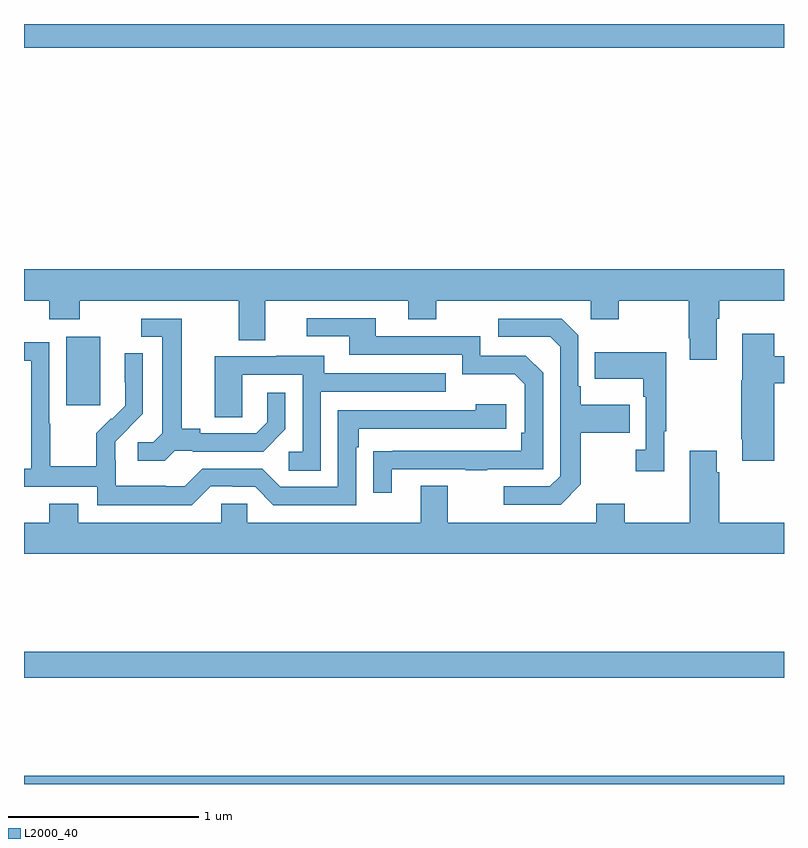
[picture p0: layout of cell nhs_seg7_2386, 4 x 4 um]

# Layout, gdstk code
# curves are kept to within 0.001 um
import gdstk
lib = gdstk.Library(unit=1e-6, precision=1e-09)
def R(c, l, rs):  # rectangles x0, y0, x1, y1
    for r in rs: c.add(gdstk.rectangle(r[:2], r[2:], *l))
def P(c, l, *ps):  # polygons
    for p in ps: c.add(gdstk.Polygon(p, *l))
L2000_40 = (2000, 40)

nhs_seg7_2386 = lib.new_cell('nhs_seg7_2386')
R(nhs_seg7_2386, L2000_40, [(265,1070,269,1070.044), (265,1070.56,269,1070.696), (265.223,1071.993,265.402,1072.354), (265,1073.876,269,1074)])
P(nhs_seg7_2386, L2000_40, [(268.645,1072.448),(268.658,1072.448),(268.658,1072.544),(269,1072.544),(269,1072.708),(265,1072.708),(265,1072.544),(265.133,1072.544),(265.133,1072.445),(265.293,1072.445),(265.293,1072.544),(266.129,1072.544),(266.129,1072.336),(266.269,1072.336),(266.269,1072.544),(267.023,1072.544),(267.023,1072.445),(267.171,1072.445),(267.171,1072.544),(267.984,1072.544),(267.984,1072.445),(268.131,1072.445),(268.131,1072.544),(268.498,1072.544),(268.498,1072.345),(268.505,1072.345),(268.505,1072.233),(268.645,1072.233)],
  [(266.935,1071.657),(267.325,1071.657),(267.325,1071.652),(267.437,1071.652),(267.437,1071.657),(267.732,1071.657),(267.732,1072.164),(267.642,1072.254),(267.402,1072.254),(267.402,1072.356),(266.851,1072.356),(266.851,1072.452),(266.487,1072.452),(266.487,1072.356),(266.711,1072.356),(266.711,1072.26),(267.306,1072.26),(267.306,1072.157),(267.583,1072.157),(267.636,1072.104),(267.636,1071.85),(267.616,1071.85),(267.616,1071.753),(266.839,1071.752),(266.839,1071.534),(266.935,1071.534)],
  [(265.794,1071.753),(265.888,1071.753),(265.888,1071.75),(266.26,1071.75),(266.376,1071.866),(266.376,1072.06),(266.279,1072.06),(266.279,1071.903),(266.222,1071.846),(265.927,1071.846),(265.927,1071.869),(265.831,1071.869),(265.831,1072.449),(265.617,1072.449),(265.617,1072.353),(265.727,1072.353),(265.727,1071.845),(265.68,1071.798),(265.599,1071.798),(265.599,1071.701),(265.742,1071.701)],
  [(267.931,1071.577),(267.931,1071.85),(268.187,1071.85),(268.187,1071.997),(267.931,1071.997),(267.931,1072.093),(267.918,1072.093),(267.918,1072.362),(267.831,1072.449),(267.495,1072.449),(267.495,1072.353),(267.771,1072.353),(267.822,1072.302),(267.822,1071.621),(267.768,1071.567),(267.525,1071.567),(267.525,1071.471),(267.825,1071.471)],
  [(268.949,1072.109),(269,1072.109),(269,1072.251),(268.949,1072.251),(268.949,1072.369),(268.781,1072.369),(268.781,1072.125),(268.774,1072.125),(268.774,1071.814),(268.781,1071.814),(268.781,1071.702),(268.949,1071.702)],
  [(265.983,1071.567),(266.099,1071.567),(266.099,1071.564),(266.217,1071.564),(266.313,1071.468),(266.748,1071.468),(266.748,1071.773),(266.761,1071.773),(266.761,1071.87),(267.538,1071.87),(267.538,1072),(267.377,1072),(267.377,1071.966),(266.652,1071.966),(266.652,1071.564),(266.349,1071.564),(266.253,1071.66),(265.938,1071.66),(265.845,1071.567),(265.745,1071.567),(265.745,1071.571),(265.482,1071.571),(265.482,1071.705),(265.48,1071.705),(265.48,1071.802),(265.626,1071.95),(265.626,1072.268),(265.53,1072.268),(265.53,1072.114),(265.532,1072.114),(265.532,1071.992),(265.461,1071.921),(265.458,1071.924),(265.381,1071.847),(265.381,1071.673),(265.137,1071.673),(265.137,1071.896),(265.134,1071.896),(265.134,1072.326),(265,1072.326),(265,1072.227),(265.038,1072.227),(265.038,1071.66),(265,1071.66),(265,1071.564),(265.386,1071.564),(265.386,1071.467),(265.883,1071.467)],
  [(268.369,1071.857),(268.381,1071.857),(268.381,1072.273),(268.003,1072.273),(268.003,1072.133),(268.26,1072.133),(268.26,1072.037),(268.272,1072.037),(268.272,1071.758),(268.221,1071.758),(268.221,1071.645),(268.369,1071.645)],
  [(266.562,1072.065),(267.221,1072.065),(267.221,1072.161),(266.581,1072.161),(266.581,1072.255),(266.327,1072.255),(266.327,1072.251),(266.003,1072.251),(266.003,1071.931),(266.148,1071.931),(266.148,1072.155),(266.466,1072.155),(266.466,1071.75),(266.394,1071.75),(266.394,1071.649),(266.562,1071.649)],
  [(269,1071.376),(268.658,1071.376),(268.658,1071.641),(268.645,1071.641),(268.645,1071.754),(268.505,1071.754),(268.505,1071.376),(268.161,1071.376),(268.161,1071.475),(268.013,1071.475),(268.013,1071.376),(267.229,1071.376),(267.229,1071.571),(267.089,1071.571),(267.089,1071.376),(266.175,1071.376),(266.175,1071.474),(266.037,1071.474),(266.037,1071.376),(265.285,1071.376),(265.285,1071.475),(265.133,1071.475),(265.133,1071.376),(265,1071.376),(265,1071.212),(269,1071.212)])

lib.write_gds('nhs_seg7_2386.gds')
